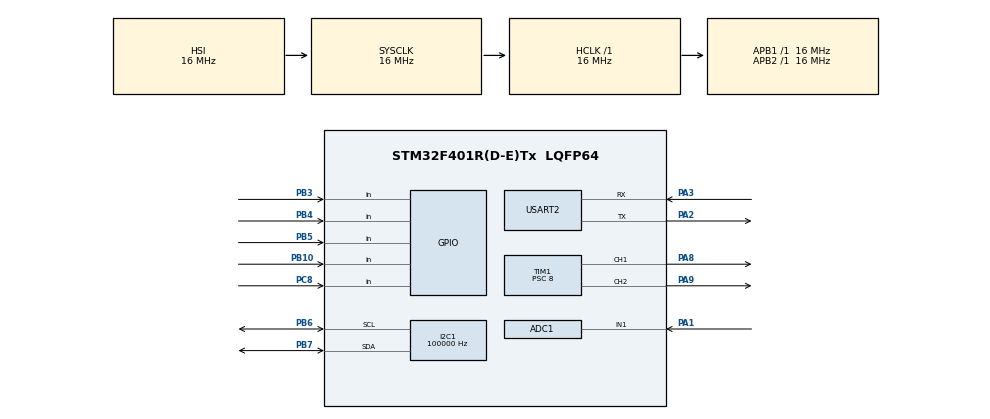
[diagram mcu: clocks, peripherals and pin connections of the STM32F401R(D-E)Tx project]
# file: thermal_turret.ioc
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ADC1.Channel-1\#ChannelRegularConversion=ADC_CHANNEL_1
ADC1.ContinuousConvMode=DISABLE
ADC1.NbrOfConversionFlag=1
ADC1.Rank-1\#ChannelRegularConversion=1
ADC1.SamplingTime-1\#ChannelRegularConversion=ADC_SAMPLETIME_3CYCLES
ADC1.master=1
I2C1.ClockSpeed=100000
I2C1.I2C_Mode=I2C_Standard
Mcu.Family=STM32F4
Mcu.Name=STM32F401R(D-E)Tx
Mcu.Package=LQFP64
NVIC.PriorityGroup=NVIC_PRIORITYGROUP_4
PA1.Signal=ADCx_IN1
PA2.Mode=Asynchronous
PA2.Signal=USART2_TX
PA3.Mode=Asynchronous
PA3.Signal=USART2_RX
PA8.Signal=S_TIM1_CH1
PA9.Signal=S_TIM1_CH2
PB10.Signal=GPIO_Input
PB3.Signal=GPIO_Input
PB4.Signal=GPIO_Input
PB5.Signal=GPIO_Input
PB6.Mode=I2C
PB6.Signal=I2C1_SCL
PB7.Mode=I2C
PB7.Signal=I2C1_SDA
PC8.Signal=GPIO_Input
ProjectManager.HeapSize=0x200
ProjectManager.StackSize=0x400
ProjectManager.TargetToolchain=STM32CubeIDE
RCC.AHBFreq_Value=16000000
RCC.APB1Freq_Value=16000000
RCC.APB2Freq_Value=16000000
RCC.CortexFreq_Value=16000000
RCC.HSE_VALUE=25000000
RCC.HSI_VALUE=16000000
RCC.LSE_VALUE=32768
RCC.SYSCLKFreq_VALUE=16000000
RCC.VCOOutputFreq_Value=192000000
SH.ADCx_IN1.0=ADC1_IN1,IN1
SH.S_TIM1_CH1.0=TIM1_CH1,PWM Generation1 CH1
SH.S_TIM1_CH2.0=TIM1_CH2,PWM Generation2 CH2
TIM1.AutoReloadPreload=TIM_AUTORELOAD_PRELOAD_ENABLE
TIM1.Channel-PWM\ Generation1\ CH1=TIM_CHANNEL_1
TIM1.Channel-PWM\ Generation2\ CH2=TIM_CHANNEL_2
TIM1.Period=35471
TIM1.Prescaler=8
USART2.VirtualMode=VM_ASYNC
VP_TIM1_VS_ClockSourceINT.Mode=Internal
board=custom

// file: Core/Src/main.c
/* USER CODE BEGIN Header */
/**
  ******************************************************************************
  * @file           : main.c
  * @brief          : Main program body
  ******************************************************************************
  * @attention
  *
  * <h2><center>&copy; Copyright (c) 2021 STMicroelectronics.
  * All rights reserved.</center></h2>
  *
  * This software component is licensed by ST under BSD 3-Clause license,
  * the "License"; You may not use this file except in compliance with the
  * License. You may obtain a copy of the License at:
  *                        opensource.org/licenses/BSD-3-Clause
  *
  ******************************************************************************
  */
/* USER CODE END Header */
#include "main.h"

/* USER CODE BEGIN Includes */
#include "math.h"
#include "OpenLCD.h"
#include "MLX90614.h"
#include "stdio.h"
#include "float.h"

/* USER CODE END Includes */

/* USER CODE BEGIN PTD */

//------------------------MISC TYPES------------------------------------------
typedef struct I2C_Module
{
  I2C_HandleTypeDef   instance;
  uint16_t            sdaPin;
  GPIO_TypeDef*       sdaPort;
  uint16_t            sclPin;
  GPIO_TypeDef*       sclPort;
}I2C_Module;

enum SYSTEM_STATE{
	START, /* Nobody centered frame for a while / just powered on. Display
			* nothing on the display, camera heads to (0,0) or tracks towards forehead if present */
	CENTERED, /* We just saw a centered forehead in frame. Take the temperature. If it's not high enough,
	           * tell the user to move closer to the camera on the display */
	TOUCH_WAIT, /* Tell the user to touch the contact sensor and show yellow, along with temperature reading.
				 * Wait for them to touch the contact sensor (i.e. contact sensor goes above ambient)
				 * If they don't after some timeout, move back to RESET*/
	TOUCH_HOLD, /* Have them hodl for a while after detecting initial */
	PAUSE /* Delay for a brief period of time to let the user see the thing, then go to START*/
};

/* USER CODE END PTD */

/* USER CODE BEGIN PD */
#define LASER_SMBUS_ADDRESS 0xB4

#define LASER_TOBJ1_ADDRESS 0x007

#define COMMAND_READ 0x1

//------------------------GIMBAL CONSTANTS-------------------------------------
//Determined experimentally (the datasheet lies)
#define SERVO_PULSE_WIDTH_TICKS 35471
#define SERVO_YAW_NEUTRAL_TICKS  2700
//Range from neutral to +max or -max in ticks
#define SERVO_YAW_RANGE_TICKS 1700 //Determined experimentally
#define SERVO_YAW_MAX_ANGLE 95 //Determined experimentally

#define SERVO_PITCH_NEUTRAL_TICKS  2600 //TODO: Measure better? These still feel slightly off
//Range from neutral to +max or -max in ticks
#define SERVO_PITCH_RANGE_TICKS 1700 //TODO: Measure
#define SERVO_PITCH_MAX_ANGLE 95 //TODO: Measure
#define SERVO_PITCH_MAX_SAFE_ANGLE_MIN 40
#define SERVO_PITCH_MAX_SAFE_ANGLE_MAX -75

//------------------------TOUCH THERMOMETER CONSTANTS-----------------------------
const float R1 = 32.66;  //kOhms
const float R2 = 9.866; //kOhms

//---------------------------VISION INTERFACE CONSTANTS---------------------------

GPIO_TypeDef* VISION_LEFT_BANK = GPIOB;
GPIO_TypeDef* VISION_RIGHT_BANK = GPIOB;
GPIO_TypeDef* VISION_UP_BANK = GPIOB;
GPIO_TypeDef* VISION_DOWN_BANK = GPIOB;
GPIO_TypeDef* VISION_SEES_FACE_BANK = GPIOC;
uint16_t VISION_LEFT_PIN = GPIO_PIN_3;
uint16_t VISION_RIGHT_PIN = GPIO_PIN_4;
uint16_t VISION_UP_PIN = GPIO_PIN_5;
uint16_t VISION_DOWN_PIN = GPIO_PIN_10;
uint16_t VISION_SEES_FACE_PIN = GPIO_PIN_8;

//---------------------------STATE LOGIC CONSTANTS----------------------
#define TEMP_SAFE 78.00 //TODO: Adjust me
#define TEMP_UNSAFE 86.00 //TODO: Adjust me
#define TEMP_THRESHOLD 76.00 //TODO: Adjust me
#define RESET_TIMEOUT 20 //TODO: Adjust me
#define DELAY_TIMEOUT 40 //TODO: Adjust me
#define TOUCH_TEMP_THRESHOLD 73.0 //TODO: Adjust me
#define TOUCH_TIMEOUT 100 //TODO: Adjust me
#define TOUCH_TEMP_SAFE 73.5 //TODO: Adjust me
#define TOUCH_HOLD_COUNT 100 //TODO: Adjust me
#define MOVE_SPEED 1

const char* MESSAGE_SEARCHING = "Searching...";
const char* MESSAGE_MOVE_CLOSER = "Move closer";
const char* MESSAGE_TOUCH = "Touch sensor";
const char* MESSAGE_HOLD = "Continue hold";

/* USER CODE END PD */

ADC_HandleTypeDef hadc1;

I2C_HandleTypeDef hi2c1;

TIM_HandleTypeDef htim1;

UART_HandleTypeDef huart2;

void SystemClock_Config(void);
static void MX_GPIO_Init(void);
static void MX_I2C1_Init(void);
static void MX_TIM1_Init(void);
static void MX_ADC1_Init(void);
static void MX_USART2_UART_Init(void);
/* USER CODE BEGIN PFP */

#define I2C1_SCL_Pin GPIO_PIN_6
#define I2C1_SCL_GPIO_Port GPIOB
#define I2C1_SDA_Pin GPIO_PIN_7
#define I2C1_SDA_GPIO_Port GPIOB

/* USER CODE END PFP */

/* USER CODE BEGIN 0 */

//------------------------CONTACT THERMOMETER DRIVERS--------------------------

float read_temperature_blocking();

/* float read_temperature_blocking()
 *  Reports temperature read by contact temperature sensor and returns as a float degrees Fahrenheit
 *  This is a blocking function and will wait several cycles for the ADC to finish converting.
 */
float read_temperature_blocking(){
	  HAL_ADC_Start(&hadc1);//start conversion
	  HAL_ADC_PollForConversion(&hadc1, 0xFFFFFFFF);
	  float RAW_COUNT = HAL_ADC_GetValue(&hadc1);
	  float voltage = RAW_COUNT * 3.3 / 4096;
	  float corrected_voltage = (voltage * R2 / (R1+R2) ) - 0.5; //Remove DC offset, de scale
	  float temp_c = corrected_voltage * 100;
	  float temp_f = temp_c * 1.8  + 32;

	  return temp_f;
}

//------------------------GIMBAL DRIVERS---------------------------------------

void initialize_gimbal();
int set_gimbal_angles(int yaw, int pitch);

/* void initialize_gimbal()
 *  Initializes hardware timers for gimbals and sets init position to (0,0)
 */
void initialize_gimbal(){
	//Start hardware timers
	HAL_TIM_PWM_Start(&htim1, TIM_CHANNEL_1);
	HAL_TIM_IC_Start_IT(&htim1, TIM_CHANNEL_1);
	HAL_TIM_PWM_Start(&htim1, TIM_CHANNEL_2);
	HAL_TIM_IC_Start_IT(&htim1, TIM_CHANNEL_2);

	//Move to starting position
	set_gimbal_angles(0,0);
}

/* int target_gimbal_angles(short yaw, short pitch)
 *  Moves gimbal to specified position of yaw and pitch.
 *  Yaw can range from -95 degrees to 95 degrees
 *  Pitch can range from //TODO: Measure me
 *  If a move would cause physical damage to the gimbal, or make the servos unhappy,
 *   it is not made and -1 is returned as an error status.
 */
int set_gimbal_angles(int yaw, int pitch){
	pitch-=40; //Set neutral up
	if((yaw > SERVO_YAW_MAX_ANGLE) || (yaw < -SERVO_YAW_MAX_ANGLE)\
			|| (pitch > SERVO_PITCH_MAX_SAFE_ANGLE_MIN) || (pitch < SERVO_PITCH_MAX_SAFE_ANGLE_MAX)){
		//Refuse to do this move; it'd cause bad things to occur physically
		//TODO: Add logging here
		return -1;
	}
	int yaw_pulse_width = SERVO_YAW_NEUTRAL_TICKS + (yaw * SERVO_YAW_RANGE_TICKS) / SERVO_YAW_MAX_ANGLE;
	__HAL_TIM_SET_COMPARE(&htim1, TIM_CHANNEL_1, yaw_pulse_width);

	int pitch_pulse_width = SERVO_PITCH_NEUTRAL_TICKS + (pitch * SERVO_PITCH_RANGE_TICKS) / SERVO_PITCH_MAX_ANGLE;
	__HAL_TIM_SET_COMPARE(&htim1, TIM_CHANNEL_2, pitch_pulse_width);
	return 0;

}

//-----------------------VISION INTERFACE DRIVERS--------------------------------------

GPIO_PinState target_left();
GPIO_PinState target_right();
GPIO_PinState target_up();
GPIO_PinState target_down();
GPIO_PinState sees_face();

GPIO_PinState target_left(){
	return HAL_GPIO_ReadPin(VISION_LEFT_BANK, VISION_LEFT_PIN);
}
GPIO_PinState target_right(){
	return HAL_GPIO_ReadPin(VISION_RIGHT_BANK, VISION_RIGHT_PIN);
}
GPIO_PinState target_up(){
	return HAL_GPIO_ReadPin(VISION_UP_BANK, VISION_UP_PIN);
}
GPIO_PinState target_down(){
	return HAL_GPIO_ReadPin(VISION_DOWN_BANK, VISION_DOWN_PIN);
}

GPIO_PinState sees_face(){
	return HAL_GPIO_ReadPin(VISION_SEES_FACE_BANK, VISION_SEES_FACE_PIN);
}

//-------------------------MISC------------------------------------------------------
void clear_i2c_busy();
void I2C_ClearBusyFlagErratum(struct I2C_Module* i2c);

/* void I2C_ClearBusyFlagErratum(struct I2C_Module* i2c)
 * Does magic to reset the HAL_Busy I2C state when it gets stuck there sometimes.
 * Sourced from https://electronics.stackexchange.com/questions/267972/i2c-busy-flag-strange-behaviour
 */
void I2C_ClearBusyFlagErratum(struct I2C_Module* i2c)
{
  GPIO_InitTypeDef GPIO_InitStructure;

  // 1. Clear PE bit.
  i2c->instance.Instance->CR1 &= ~(0x0001);

  //  2. Configure the SCL and SDA I/Os as General Purpose Output Open-Drain, High level (Write 1 to GPIOx_ODR).
  GPIO_InitStructure.Mode         = GPIO_MODE_OUTPUT_OD;
  GPIO_InitStructure.Alternate    = GPIO_AF4_I2C1;
  GPIO_InitStructure.Pull         = GPIO_PULLUP;
  GPIO_InitStructure.Speed        = GPIO_SPEED_FREQ_HIGH;

  GPIO_InitStructure.Pin          = i2c->sclPin;
  HAL_GPIO_Init(i2c->sclPort, &GPIO_InitStructure);
  HAL_GPIO_WritePin(i2c->sclPort, i2c->sclPin, GPIO_PIN_SET);

  GPIO_InitStructure.Pin          = i2c->sdaPin;
  HAL_GPIO_Init(i2c->sdaPort, &GPIO_InitStructure);
  HAL_GPIO_WritePin(i2c->sdaPort, i2c->sdaPin, GPIO_PIN_SET);

  // 3. Check SCL and SDA High level in GPIOx_IDR.
  while (GPIO_PIN_SET != HAL_GPIO_ReadPin(i2c->sclPort, i2c->sclPin))
  {
    asm("nop");
  }

  while (GPIO_PIN_SET != HAL_GPIO_ReadPin(i2c->sdaPort, i2c->sdaPin))
  {
    asm("nop");
  }

  // 4. Configure the SDA I/O as General Purpose Output Open-Drain, Low level (Write 0 to GPIOx_ODR).
  HAL_GPIO_WritePin(i2c->sdaPort, i2c->sdaPin, GPIO_PIN_RESET);

  //  5. Check SDA Low level in GPIOx_IDR.
  while (GPIO_PIN_RESET != HAL_GPIO_ReadPin(i2c->sdaPort, i2c->sdaPin))
  {
    asm("nop");
  }

  // 6. Configure the SCL I/O as General Purpose Output Open-Drain, Low level (Write 0 to GPIOx_ODR).
  HAL_GPIO_WritePin(i2c->sclPort, i2c->sclPin, GPIO_PIN_RESET);

  //  7. Check SCL Low level in GPIOx_IDR.
  while (GPIO_PIN_RESET != HAL_GPIO_ReadPin(i2c->sclPort, i2c->sclPin))
  {
    asm("nop");
  }

  // 8. Configure the SCL I/O as General Purpose Output Open-Drain, High level (Write 1 to GPIOx_ODR).
  HAL_GPIO_WritePin(i2c->sclPort, i2c->sclPin, GPIO_PIN_SET);

  // 9. Check SCL High level in GPIOx_IDR.
  while (GPIO_PIN_SET != HAL_GPIO_ReadPin(i2c->sclPort, i2c->sclPin))
  {
    asm("nop");
  }

  // 10. Configure the SDA I/O as General Purpose Output Open-Drain , High level (Write 1 to GPIOx_ODR).
  HAL_GPIO_WritePin(i2c->sdaPort, i2c->sdaPin, GPIO_PIN_SET);

  // 11. Check SDA High level in GPIOx_IDR.
  while (GPIO_PIN_SET != HAL_GPIO_ReadPin(i2c->sdaPort, i2c->sdaPin))
  {
    asm("nop");
  }

  // 12. Configure the SCL and SDA I/Os as Alternate function Open-Drain.
  GPIO_InitStructure.Mode         = GPIO_MODE_AF_OD;
  GPIO_InitStructure.Alternate    = GPIO_AF4_I2C1;

  GPIO_InitStructure.Pin          = i2c->sclPin;
  HAL_GPIO_Init(i2c->sclPort, &GPIO_InitStructure);

  GPIO_InitStructure.Pin          = i2c->sdaPin;
  HAL_GPIO_Init(i2c->sdaPort, &GPIO_InitStructure);

  // 13. Set SWRST bit in I2Cx_CR1 register.
  i2c->instance.Instance->CR1 |= 0x8000;

  asm("nop");

  // 14. Clear SWRST bit in I2Cx_CR1 register.
  i2c->instance.Instance->CR1 &= ~0x8000;

  asm("nop");

  // 15. Enable the I2C peripheral by setting the PE bit in I2Cx_CR1 register
  i2c->instance.Instance->CR1 |= 0x0001;

  // Call initialization function.
  HAL_I2C_Init(&(i2c->instance));
}

/* void clear_i2c_busy()
 *  Sometimes the HAL I2C implementation randomly gets stuck in HAL_BUSY
 *  This fixes it. It is hacky and awful, but so is the HAL library apparently.
 */
void clear_i2c_busy(){
	//This is a horrible hack and shouldn't be neccesary. Yet, it is.
	I2C_Module I2C;
	I2C.instance = hi2c1;
	I2C.sclPin = I2C1_SCL_Pin;
	I2C.sclPort = I2C1_SCL_GPIO_Port;
	I2C.sdaPin = I2C1_SDA_Pin;
	I2C.sdaPort = I2C1_SDA_GPIO_Port;

	I2C_ClearBusyFlagErratum(&I2C);
}

void initialize_lcd(){
	 OpenLCD_begin(&hi2c1);
	 OpenLCD_setContrast(0);
	 OpenLCD_setFastBacklightrgb(128, 128, 128);
}

/* USER CODE END 0 */

int main(void)
{

  /* MCU Configuration--------------------------------------------------------*/

  /* Reset of all peripherals, Initializes the Flash interface and the Systick. */
  HAL_Init();

  /* USER CODE BEGIN Init */

  // 4 inputs from Jetson Nano
  //- Up
  //- Down
  //- Left
  //- Right
  //If none are high, laser is aimed properly.

  // 2 PWM Outputs

  // 2 I2C I/O
  // Temp Sens
  // Display

  // ADC for touch

  /* USER CODE END Init */

  /* Configure the system clock */
  SystemClock_Config();

  /* Initialize all configured peripherals */
  MX_GPIO_Init();
  MX_I2C1_Init();
  MX_TIM1_Init();
  MX_ADC1_Init();
  MX_USART2_UART_Init();
  /* USER CODE BEGIN 2 */

  initialize_gimbal();
  initialize_lcd();

  clear_i2c_busy();

  MLX_IRTherm();
  bool MLX_OK = MLX_begin(&hi2c1);
  if (!MLX_OK){
	  printf("ERROR: MLX90614: MLX_begin(): Not Connected");
  }
  MLX_setUnit(TEMP_F);

  /* USER CODE END 2 */

  /* Infinite loop */
  /* USER CODE BEGIN WHILE */
  int yaw = 0;
  int pitch = 0;
  long counter = 0;
  float locked_temp;

  enum SYSTEM_STATE state = START;

  while (1) {
    /* USER CODE END WHILE */

    /* USER CODE BEGIN 3 */
	  clear_i2c_busy();

	  //--------------------------GIMBAL TRACKING LOGIC: ALWAYS RUNS----------------------

	  if(sees_face()){
		  if(target_left()){
			  printf("Targeting left\r\n");
			  if(yaw < SERVO_YAW_MAX_ANGLE){
				yaw = yaw + MOVE_SPEED;
			  }
		  }
		  if(target_right()){
			  printf("Targeting right\r\n");
			  if(yaw > -SERVO_YAW_MAX_ANGLE){
				  yaw = yaw - MOVE_SPEED;
			  }
		  }
		  if(target_up()){
			  printf("Targeting up\r\n");
			  if(pitch > SERVO_PITCH_MAX_SAFE_ANGLE_MAX){
				  pitch = pitch - MOVE_SPEED;
			  }
		  }
		  if(target_down()){
			  printf("Targeting down\r\n");
			  if(pitch < SERVO_PITCH_MAX_SAFE_ANGLE_MIN){
				  pitch = pitch + MOVE_SPEED;
			  }
		  }
	  }else{
		  //Head towards origin (slowly lol)
		  if(pitch > 0){
			  pitch --;
		  }
		  if(pitch < 0){
			  pitch ++;
		  }
		  if(yaw > 0){
			  yaw --;
		  }
		  if(yaw < 0){
			  yaw ++;
		  }
	  }
	  printf("Attempting move to %d,%d\r\n", yaw, pitch);
	  set_gimbal_angles(yaw, pitch);
	  //----------------------STATE MACHINE LOGIC--------------------------
	  switch(state){
	  case START:
		  OpenLCD_clear();
		  OpenLCD_setCursor(0, 0);
		  OpenLCD_writestr(MESSAGE_SEARCHING);
		  if(sees_face() && !(target_down()||target_up()||target_left()||target_right())){
			  //We're centered.
			  printf("Transitioning state to CENTERED\r\n");
			  counter = 0; //We just saw someone
			  state = CENTERED;
		  }
		  break;
	  case CENTERED:
		  if(!sees_face() || (target_down()||target_up()||target_left()||target_right())){
			  counter++;
			  if(counter > RESET_TIMEOUT){
				  OpenLCD_clear();
				  state = START;
			  }
			  OpenLCD_clear();
			  OpenLCD_setCursor(0, 0);
			  OpenLCD_writestr(MESSAGE_SEARCHING);
			  break; //We're not seeing a face; don't even try to read temp
		  }else{
			  counter = 0;
		  }
		  //We're actively centered on a face still
		  //Read the temperature
		  MLX_read();
		  float temp = MLX_object();
		  float ambient = MLX_ambient();
		  char buf[100];
		  gcvt(temp, 8, buf);

		  if(temp > TEMP_THRESHOLD){
			  //We're pretty sure we're reading a forehead
			  //Show the temperature
			  OpenLCD_clear();
			  OpenLCD_setCursor(0, 0);
			  OpenLCD_writebuff(buf, 6);
			  if(temp < TEMP_SAFE){
				  //They're considered a safe temperature.
				  //Display it, and green
				  OpenLCD_setFastBacklightrgb(27, 240, 69);
				  state = PAUSE; //Give them some time to see it before clearing.
			  }else if(temp < TEMP_UNSAFE){
				  //Threshold temperature.
				  //Display it, and yellow, alongside instructions to touch contact sensor.
				  OpenLCD_setFastBacklightrgb(230, 255, 0);
				  OpenLCD_setCursor(0, 1);
				  OpenLCD_writestr(MESSAGE_TOUCH);
				  HAL_Delay(1500);
				  locked_temp = temp;
				  state = TOUCH_WAIT;
			  }else{
				  //Unsafe temperature.
				  //Display it, and red
				  OpenLCD_setFastBacklightrgb(240, 27, 105);
				  state = PAUSE;// Give them some time to see it before clearing.
			  }
		  }else{
			  printf("Detected temp is %f\r\n", temp);
			  OpenLCD_clear();
			  OpenLCD_setCursor(0, 0);
			  OpenLCD_writestr(MESSAGE_MOVE_CLOSER);
		  }

		  break;
	  case TOUCH_WAIT:
		  //The user isn't confirmed safe / unsafe; they're in-between
		  //Make them use the contact sensor for further evaluation
		  asm("nop");//Statement required after label.
		  float touch_temp = read_temperature_blocking();
		  char touch_buf[500];
		  gcvt(touch_temp, 8, touch_buf);
		  char locked_temp_buf[100];
		  gcvt(locked_temp, 8, locked_temp_buf);

		  OpenLCD_clear();
		  OpenLCD_setCursor(0, 0);
		  OpenLCD_writebuff(locked_temp_buf, 6);
		  if(touch_temp > TOUCH_TEMP_THRESHOLD){
			  counter = 0;
			  OpenLCD_setCursor(0, 1);
			  OpenLCD_writestr(MESSAGE_HOLD);
			  state = TOUCH_HOLD;
		  }else{
			  OpenLCD_setCursor(0, 1);
			  OpenLCD_writestr(MESSAGE_TOUCH);
			  counter++;
			  if(counter > TOUCH_TIMEOUT){
				 OpenLCD_clear();
				 OpenLCD_setFastBacklightrgb(128, 128, 128);
				 state = START;
			  }
		  }
		  break;
	  case TOUCH_HOLD:
		  counter++;
		  if(counter < TOUCH_HOLD_COUNT) break;
		  char locked_temp_buf2[100];
		  gcvt(locked_temp, 8, locked_temp_buf2);

		  OpenLCD_clear();
		  OpenLCD_setCursor(0, 0);
		  OpenLCD_writebuff(locked_temp_buf2, 6);

		  float touch_temp2 = read_temperature_blocking();
		  char touch_buf2[500];
		  gcvt(touch_temp2, 8, touch_buf2);

		  OpenLCD_setCursor(0, 1);
		  OpenLCD_writebuff(touch_buf2, 6);
		  if(touch_temp < TOUCH_TEMP_SAFE){
		 		//They're considered a safe temperature.
		 		//Display it, and green
		 		OpenLCD_setFastBacklightrgb(27, 240, 69);
		 		counter = 0;
		 		state = PAUSE; //Give them some time to see it before clearing.
		  }else{
			  //Unsafe temperature.
			  //Display it, and red
			  OpenLCD_setFastBacklightrgb(240, 27, 105);
			  counter = 0;
			  state = PAUSE;// Give them some time to see it before clearing.
		  }
		  break;
	  case PAUSE:
		  counter++;
		  if(counter > DELAY_TIMEOUT){
			  OpenLCD_clear();
			  OpenLCD_setFastBacklightrgb(128, 128, 128);
			  state = START;
		  }
		  break;
	  }

	  MLX_read();
	  float temp = MLX_object();
	  float ambient = MLX_ambient();
	  char buf[100];
	  gcvt(temp, 8, buf);
	  printf("Temp is %f\r\n", temp);

	  HAL_Delay(100);
  }
  /* USER CODE END 3 */
}

void SystemClock_Config(void)
{
  RCC_OscInitTypeDef RCC_OscInitStruct = {0};
  RCC_ClkInitTypeDef RCC_ClkInitStruct = {0};

  /** Configure the main internal regulator output voltage
  */
  __HAL_RCC_PWR_CLK_ENABLE();
  __HAL_PWR_VOLTAGESCALING_CONFIG(PWR_REGULATOR_VOLTAGE_SCALE2);
  /** Initializes the RCC Oscillators according to the specified parameters
  * in the RCC_OscInitTypeDef structure.
  */
  RCC_OscInitStruct.OscillatorType = RCC_OSCILLATORTYPE_HSI;
  RCC_OscInitStruct.HSIState = RCC_HSI_ON;
  RCC_OscInitStruct.HSICalibrationValue = RCC_HSICALIBRATION_DEFAULT;
  RCC_OscInitStruct.PLL.PLLState = RCC_PLL_NONE;
  if (HAL_RCC_OscConfig(&RCC_OscInitStruct) != HAL_OK)
  {
    Error_Handler();
  }
  /** Initializes the CPU, AHB and APB buses clocks
  */
  RCC_ClkInitStruct.ClockType = RCC_CLOCKTYPE_HCLK|RCC_CLOCKTYPE_SYSCLK
                              |RCC_CLOCKTYPE_PCLK1|RCC_CLOCKTYPE_PCLK2;
  RCC_ClkInitStruct.SYSCLKSource = RCC_SYSCLKSOURCE_HSI;
  RCC_ClkInitStruct.AHBCLKDivider = RCC_SYSCLK_DIV1;
  RCC_ClkInitStruct.APB1CLKDivider = RCC_HCLK_DIV1;
  RCC_ClkInitStruct.APB2CLKDivider = RCC_HCLK_DIV1;

  if (HAL_RCC_ClockConfig(&RCC_ClkInitStruct, FLASH_LATENCY_0) != HAL_OK)
  {
    Error_Handler();
  }
}

static void MX_ADC1_Init(void)
{

  ADC_ChannelConfTypeDef sConfig = {0};

  /** Configure the global features of the ADC (Clock, Resolution, Data Alignment and number of conversion)
  */
  hadc1.Instance = ADC1;
  hadc1.Init.ClockPrescaler = ADC_CLOCK_SYNC_PCLK_DIV2;
  hadc1.Init.Resolution = ADC_RESOLUTION_12B;
  hadc1.Init.ScanConvMode = DISABLE;
  hadc1.Init.ContinuousConvMode = DISABLE;
  hadc1.Init.DiscontinuousConvMode = DISABLE;
  hadc1.Init.ExternalTrigConvEdge = ADC_EXTERNALTRIGCONVEDGE_NONE;
  hadc1.Init.ExternalTrigConv = ADC_SOFTWARE_START;
  hadc1.Init.DataAlign = ADC_DATAALIGN_RIGHT;
  hadc1.Init.NbrOfConversion = 1;
  hadc1.Init.DMAContinuousRequests = DISABLE;
  hadc1.Init.EOCSelection = ADC_EOC_SINGLE_CONV;
  if (HAL_ADC_Init(&hadc1) != HAL_OK)
  {
    Error_Handler();
  }
  /** Configure for the selected ADC regular channel its corresponding rank in the sequencer and its sample time.
  */
  sConfig.Channel = ADC_CHANNEL_1;
  sConfig.Rank = 1;
  sConfig.SamplingTime = ADC_SAMPLETIME_3CYCLES;
  if (HAL_ADC_ConfigChannel(&hadc1, &sConfig) != HAL_OK)
  {
    Error_Handler();
  }

}

static void MX_I2C1_Init(void)
{

  hi2c1.Instance = I2C1;
  hi2c1.Init.ClockSpeed = 100000;
  hi2c1.Init.DutyCycle = I2C_DUTYCYCLE_2;
  hi2c1.Init.OwnAddress1 = 0;
  hi2c1.Init.AddressingMode = I2C_ADDRESSINGMODE_7BIT;
  hi2c1.Init.DualAddressMode = I2C_DUALADDRESS_DISABLE;
  hi2c1.Init.OwnAddress2 = 0;
  hi2c1.Init.GeneralCallMode = I2C_GENERALCALL_DISABLE;
  hi2c1.Init.NoStretchMode = I2C_NOSTRETCH_DISABLE;
  if (HAL_I2C_Init(&hi2c1) != HAL_OK)
  {
    Error_Handler();
  }

}

static void MX_TIM1_Init(void)
{

  TIM_ClockConfigTypeDef sClockSourceConfig = {0};
  TIM_MasterConfigTypeDef sMasterConfig = {0};
  TIM_OC_InitTypeDef sConfigOC = {0};
  TIM_BreakDeadTimeConfigTypeDef sBreakDeadTimeConfig = {0};

  htim1.Instance = TIM1;
  htim1.Init.Prescaler = 8;
  htim1.Init.CounterMode = TIM_COUNTERMODE_UP;
  htim1.Init.Period = 35471;
  htim1.Init.ClockDivision = TIM_CLOCKDIVISION_DIV1;
  htim1.Init.RepetitionCounter = 0;
  htim1.Init.AutoReloadPreload = TIM_AUTORELOAD_PRELOAD_ENABLE;
  if (HAL_TIM_Base_Init(&htim1) != HAL_OK)
  {
    Error_Handler();
  }
  sClockSourceConfig.ClockSource = TIM_CLOCKSOURCE_INTERNAL;
  if (HAL_TIM_ConfigClockSource(&htim1, &sClockSourceConfig) != HAL_OK)
  {
    Error_Handler();
  }
  if (HAL_TIM_PWM_Init(&htim1) != HAL_OK)
  {
    Error_Handler();
  }
  sMasterConfig.MasterOutputTrigger = TIM_TRGO_RESET;
  sMasterConfig.MasterSlaveMode = TIM_MASTERSLAVEMODE_DISABLE;
  if (HAL_TIMEx_MasterConfigSynchronization(&htim1, &sMasterConfig) != HAL_OK)
  {
    Error_Handler();
  }
  sConfigOC.OCMode = TIM_OCMODE_PWM1;
  sConfigOC.Pulse = 0;
  sConfigOC.OCPolarity = TIM_OCPOLARITY_HIGH;
  sConfigOC.OCNPolarity = TIM_OCNPOLARITY_HIGH;
  sConfigOC.OCFastMode = TIM_OCFAST_DISABLE;
  sConfigOC.OCIdleState = TIM_OCIDLESTATE_RESET;
  sConfigOC.OCNIdleState = TIM_OCNIDLESTATE_RESET;
  if (HAL_TIM_PWM_ConfigChannel(&htim1, &sConfigOC, TIM_CHANNEL_1) != HAL_OK)
  {
    Error_Handler();
  }
  if (HAL_TIM_PWM_ConfigChannel(&htim1, &sConfigOC, TIM_CHANNEL_2) != HAL_OK)
  {
    Error_Handler();
  }
  sBreakDeadTimeConfig.OffStateRunMode = TIM_OSSR_DISABLE;
  sBreakDeadTimeConfig.OffStateIDLEMode = TIM_OSSI_DISABLE;
  sBreakDeadTimeConfig.LockLevel = TIM_LOCKLEVEL_OFF;
  sBreakDeadTimeConfig.DeadTime = 0;
  sBreakDeadTimeConfig.BreakState = TIM_BREAK_DISABLE;
  sBreakDeadTimeConfig.BreakPolarity = TIM_BREAKPOLARITY_HIGH;
  sBreakDeadTimeConfig.AutomaticOutput = TIM_AUTOMATICOUTPUT_DISABLE;
  if (HAL_TIMEx_ConfigBreakDeadTime(&htim1, &sBreakDeadTimeConfig) != HAL_OK)
  {
    Error_Handler();
  }
  HAL_TIM_MspPostInit(&htim1);

}

static void MX_USART2_UART_Init(void)
{

  huart2.Instance = USART2;
  huart2.Init.BaudRate = 115200;
  huart2.Init.WordLength = UART_WORDLENGTH_8B;
  huart2.Init.StopBits = UART_STOPBITS_1;
  huart2.Init.Parity = UART_PARITY_NONE;
  huart2.Init.Mode = UART_MODE_TX_RX;
  huart2.Init.HwFlowCtl = UART_HWCONTROL_NONE;
  huart2.Init.OverSampling = UART_OVERSAMPLING_16;
  if (HAL_UART_Init(&huart2) != HAL_OK)
  {
    Error_Handler();
  }

}

static void MX_GPIO_Init(void)
{
  GPIO_InitTypeDef GPIO_InitStruct = {0};

  /* GPIO Ports Clock Enable */
  __HAL_RCC_GPIOA_CLK_ENABLE();
  __HAL_RCC_GPIOB_CLK_ENABLE();
  __HAL_RCC_GPIOC_CLK_ENABLE();

  /*Configure GPIO pins : PB10 PB3 PB4 PB5 */
  GPIO_InitStruct.Pin = GPIO_PIN_10|GPIO_PIN_3|GPIO_PIN_4|GPIO_PIN_5;
  GPIO_InitStruct.Mode = GPIO_MODE_INPUT;
  GPIO_InitStruct.Pull = GPIO_NOPULL;
  HAL_GPIO_Init(GPIOB, &GPIO_InitStruct);

  /*Configure GPIO pin : PC8 */
  GPIO_InitStruct.Pin = GPIO_PIN_8;
  GPIO_InitStruct.Mode = GPIO_MODE_INPUT;
  GPIO_InitStruct.Pull = GPIO_NOPULL;
  HAL_GPIO_Init(GPIOC, &GPIO_InitStruct);

}

/* USER CODE BEGIN 4 */

#ifdef __GNUC__
#define PUTCHAR_PROTOTYPE int __io_putchar(int ch)
#else
  #define PUTCHAR_PROTOTYPE int fputc(int ch, FILE *f)
#endif /* __GNUC__ */
PUTCHAR_PROTOTYPE
{
  HAL_UART_Transmit(&huart2, (uint8_t *)&ch, 1, 0xFFFF);
  return ch;
}

/* USER CODE END 4 */

void Error_Handler(void)
{
  __disable_irq();
  while (1)
  {
  }
}

/************************ (C) COPYRIGHT STMicroelectronics *****END OF FILE****/
